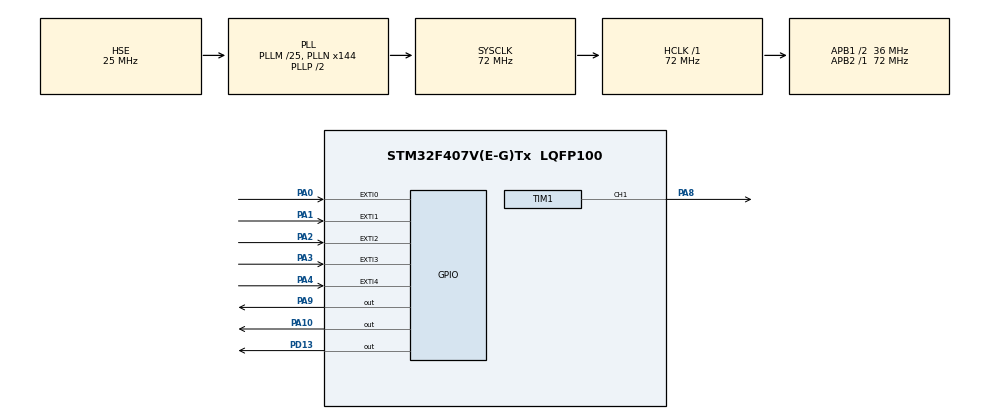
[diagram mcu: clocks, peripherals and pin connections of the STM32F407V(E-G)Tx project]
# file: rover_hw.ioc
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Mcu.Family=STM32F4
Mcu.Name=STM32F407V(E-G)Tx
Mcu.Package=LQFP100
NVIC.EXTI0_IRQn=true\:0\:0\:false\:false\:true\:true\:true\:true
NVIC.EXTI1_IRQn=true\:0\:0\:false\:false\:true\:true\:true\:true
NVIC.EXTI2_IRQn=true\:0\:0\:false\:false\:true\:true\:true\:true
NVIC.EXTI3_IRQn=true\:0\:0\:false\:false\:true\:true\:true\:true
NVIC.EXTI4_IRQn=true\:0\:0\:false\:false\:true\:true\:true\:true
NVIC.PriorityGroup=NVIC_PRIORITYGROUP_4
PA0-WKUP.GPIO_PuPd=GPIO_PULLDOWN
PA0-WKUP.Signal=GPXTI0
PA1.GPIO_PuPd=GPIO_PULLDOWN
PA1.Signal=GPXTI1
PA10.Signal=GPIO_Output
PA13.Mode=Serial_Wire
PA13.Signal=SYS_JTMS-SWDIO
PA14.Mode=Serial_Wire
PA14.Signal=SYS_JTCK-SWCLK
PA2.GPIO_PuPd=GPIO_PULLDOWN
PA2.Signal=GPXTI2
PA3.GPIO_PuPd=GPIO_PULLDOWN
PA3.Signal=GPXTI3
PA4.GPIO_PuPd=GPIO_PULLDOWN
PA4.Signal=GPXTI4
PA8.Signal=S_TIM1_CH1
PA9.Signal=GPIO_Output
PD13.Signal=GPIO_Output
PH0-OSC_IN.Mode=HSE-External-Oscillator
PH0-OSC_IN.Signal=RCC_OSC_IN
PH1-OSC_OUT.Mode=HSE-External-Oscillator
PH1-OSC_OUT.Signal=RCC_OSC_OUT
ProjectManager.HeapSize=0x200
ProjectManager.StackSize=0x400
ProjectManager.TargetToolchain=STM32CubeIDE
RCC.48MHZClocksFreq_Value=36000000
RCC.AHBFreq_Value=72000000
RCC.APB1CLKDivider=RCC_HCLK_DIV2
RCC.APB1Freq_Value=36000000
RCC.APB1TimFreq_Value=72000000
RCC.APB2Freq_Value=72000000
RCC.APB2TimFreq_Value=72000000
RCC.CortexFreq_Value=72000000
RCC.HCLKFreq_Value=72000000
RCC.HSE_VALUE=25000000
RCC.HSI_VALUE=16000000
RCC.LSE_VALUE=32768
RCC.PLLM=25
RCC.PLLN=144
RCC.PLLSourceVirtual=RCC_PLLSOURCE_HSE
RCC.SYSCLKFreq_VALUE=72000000
RCC.SYSCLKSource=RCC_SYSCLKSOURCE_PLLCLK
RCC.VCOOutputFreq_Value=144000000
SH.S_TIM1_CH1.0=TIM1_CH1,PWM Generation1 CH1
TIM1.AutoReloadPreload=TIM_AUTORELOAD_PRELOAD_ENABLE
TIM1.Channel-PWM\ Generation1\ CH1=TIM_CHANNEL_1
TIM1.Period=99
TIM1.Prescaler=71
TIM1.Pulse-PWM\ Generation1\ CH1=99
VP_TIM1_VS_ClockSourceINT.Mode=Internal
board=custom

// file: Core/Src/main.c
/* USER CODE BEGIN Header */
/**
  ******************************************************************************
  * @file           : main.c
  * @brief          : Main program body
  ******************************************************************************
  * @attention
  *
  * Copyright (c) 2023 STMicroelectronics.
  * All rights reserved.
  *
  * This software is licensed under terms that can be found in the LICENSE file
  * in the root directory of this software component.
  * If no LICENSE file comes with this software, it is provided AS-IS.
  *
  ******************************************************************************
  */
/* USER CODE END Header */
#include "main.h"

TIM_HandleTypeDef htim1;

void SystemClock_Config(void);
static void MX_GPIO_Init(void);
static void MX_TIM1_Init(void);

/* USER CODE BEGIN 0 */
void HAL_GPIO_EXTI_Callback(uint16_t GPIO_Pin){
	if(HAL_GPIO_ReadPin(GPIOA, GPIO_PIN_0))
	{
		HAL_GPIO_WritePin(GPIOA, GPIO_PIN_10,1);  // clockwise dönüş
		HAL_GPIO_WritePin(GPIOA, GPIO_PIN_9, 0);
		__HAL_TIM_SET_COMPARE(&htim1,TIM_CHANNEL_1,100); // %100 duty cycle
	}
	else if(HAL_GPIO_ReadPin(GPIOA, GPIO_PIN_1))
	{
		HAL_GPIO_WritePin(GPIOA, GPIO_PIN_10,1); // clockwise dönüş
		HAL_GPIO_WritePin(GPIOA, GPIO_PIN_9, 0);
		__HAL_TIM_SET_COMPARE(&htim1,TIM_CHANNEL_1,50); // %50 duty cycle
	}
	else if(HAL_GPIO_ReadPin(GPIOA, GPIO_PIN_2)){
		HAL_GPIO_WritePin(GPIOA, GPIO_PIN_10,0); //durur
		HAL_GPIO_WritePin(GPIOA, GPIO_PIN_9, 0);
		__HAL_TIM_SET_COMPARE(&htim1,TIM_CHANNEL_1,0); // %0 duty cycle
	}
	else if(HAL_GPIO_ReadPin(GPIOA, GPIO_PIN_2)){
		HAL_GPIO_WritePin(GPIOA, GPIO_PIN_10,1); //durur
		HAL_GPIO_WritePin(GPIOA, GPIO_PIN_9, 1);
		__HAL_TIM_SET_COMPARE(&htim1,TIM_CHANNEL_1,0); // %0 duty cycle
		}
	else if(HAL_GPIO_ReadPin(GPIOA, GPIO_PIN_3)){
		HAL_GPIO_WritePin(GPIOA, GPIO_PIN_10,0); // counter-clockwise dönüş
		HAL_GPIO_WritePin(GPIOA, GPIO_PIN_9, 1);
		__HAL_TIM_SET_COMPARE(&htim1,TIM_CHANNEL_1,50); // %50 duty cycle
	}

	else if(HAL_GPIO_ReadPin(GPIOA, GPIO_PIN_4)){
		HAL_GPIO_WritePin(GPIOA, GPIO_PIN_10,1); // counter-clockwise dönüş
		HAL_GPIO_WritePin(GPIOA, GPIO_PIN_9, 0);
		__HAL_TIM_SET_COMPARE(&htim1,TIM_CHANNEL_1,100); // %100 duty cycle
	}

}

/* USER CODE END 0 */

int main(void)
{

  /* MCU Configuration--------------------------------------------------------*/

  /* Reset of all peripherals, Initializes the Flash interface and the Systick. */
  HAL_Init();

  /* Configure the system clock */
  SystemClock_Config();

  /* Initialize all configured peripherals */
  MX_GPIO_Init();
  MX_TIM1_Init();
  /* USER CODE BEGIN 2 */
  HAL_TIM_Base_Start(&htim1);
  HAL_TIM_PWM_Start(&htim1, TIM_CHANNEL_1);

  /* USER CODE END 2 */

  /* Infinite loop */
  while (1)
  {
   HAL_GPIO_TogglePin(GPIOD,GPIO_PIN_13);
   HAL_Delay(300);

  }
}

void SystemClock_Config(void)
{
  RCC_OscInitTypeDef RCC_OscInitStruct = {0};
  RCC_ClkInitTypeDef RCC_ClkInitStruct = {0};

  /** Configure the main internal regulator output voltage
  */
  __HAL_RCC_PWR_CLK_ENABLE();
  __HAL_PWR_VOLTAGESCALING_CONFIG(PWR_REGULATOR_VOLTAGE_SCALE1);

  /** Initializes the RCC Oscillators according to the specified parameters
  * in the RCC_OscInitTypeDef structure.
  */
  RCC_OscInitStruct.OscillatorType = RCC_OSCILLATORTYPE_HSE;
  RCC_OscInitStruct.HSEState = RCC_HSE_ON;
  RCC_OscInitStruct.PLL.PLLState = RCC_PLL_ON;
  RCC_OscInitStruct.PLL.PLLSource = RCC_PLLSOURCE_HSE;
  RCC_OscInitStruct.PLL.PLLM = 25;
  RCC_OscInitStruct.PLL.PLLN = 144;
  RCC_OscInitStruct.PLL.PLLP = RCC_PLLP_DIV2;
  RCC_OscInitStruct.PLL.PLLQ = 4;
  if (HAL_RCC_OscConfig(&RCC_OscInitStruct) != HAL_OK)
  {
    Error_Handler();
  }

  /** Initializes the CPU, AHB and APB buses clocks
  */
  RCC_ClkInitStruct.ClockType = RCC_CLOCKTYPE_HCLK|RCC_CLOCKTYPE_SYSCLK
                              |RCC_CLOCKTYPE_PCLK1|RCC_CLOCKTYPE_PCLK2;
  RCC_ClkInitStruct.SYSCLKSource = RCC_SYSCLKSOURCE_PLLCLK;
  RCC_ClkInitStruct.AHBCLKDivider = RCC_SYSCLK_DIV1;
  RCC_ClkInitStruct.APB1CLKDivider = RCC_HCLK_DIV2;
  RCC_ClkInitStruct.APB2CLKDivider = RCC_HCLK_DIV1;

  if (HAL_RCC_ClockConfig(&RCC_ClkInitStruct, FLASH_LATENCY_2) != HAL_OK)
  {
    Error_Handler();
  }
}

static void MX_TIM1_Init(void)
{

  TIM_ClockConfigTypeDef sClockSourceConfig = {0};
  TIM_MasterConfigTypeDef sMasterConfig = {0};
  TIM_OC_InitTypeDef sConfigOC = {0};
  TIM_BreakDeadTimeConfigTypeDef sBreakDeadTimeConfig = {0};

  htim1.Instance = TIM1;
  htim1.Init.Prescaler = 71;
  htim1.Init.CounterMode = TIM_COUNTERMODE_UP;
  htim1.Init.Period = 99;
  htim1.Init.ClockDivision = TIM_CLOCKDIVISION_DIV1;
  htim1.Init.RepetitionCounter = 0;
  htim1.Init.AutoReloadPreload = TIM_AUTORELOAD_PRELOAD_ENABLE;
  if (HAL_TIM_Base_Init(&htim1) != HAL_OK)
  {
    Error_Handler();
  }
  sClockSourceConfig.ClockSource = TIM_CLOCKSOURCE_INTERNAL;
  if (HAL_TIM_ConfigClockSource(&htim1, &sClockSourceConfig) != HAL_OK)
  {
    Error_Handler();
  }
  if (HAL_TIM_PWM_Init(&htim1) != HAL_OK)
  {
    Error_Handler();
  }
  sMasterConfig.MasterOutputTrigger = TIM_TRGO_RESET;
  sMasterConfig.MasterSlaveMode = TIM_MASTERSLAVEMODE_DISABLE;
  if (HAL_TIMEx_MasterConfigSynchronization(&htim1, &sMasterConfig) != HAL_OK)
  {
    Error_Handler();
  }
  sConfigOC.OCMode = TIM_OCMODE_PWM1;
  sConfigOC.Pulse = 99;
  sConfigOC.OCPolarity = TIM_OCPOLARITY_HIGH;
  sConfigOC.OCNPolarity = TIM_OCNPOLARITY_HIGH;
  sConfigOC.OCFastMode = TIM_OCFAST_DISABLE;
  sConfigOC.OCIdleState = TIM_OCIDLESTATE_RESET;
  sConfigOC.OCNIdleState = TIM_OCNIDLESTATE_RESET;
  if (HAL_TIM_PWM_ConfigChannel(&htim1, &sConfigOC, TIM_CHANNEL_1) != HAL_OK)
  {
    Error_Handler();
  }
  sBreakDeadTimeConfig.OffStateRunMode = TIM_OSSR_DISABLE;
  sBreakDeadTimeConfig.OffStateIDLEMode = TIM_OSSI_DISABLE;
  sBreakDeadTimeConfig.LockLevel = TIM_LOCKLEVEL_OFF;
  sBreakDeadTimeConfig.DeadTime = 0;
  sBreakDeadTimeConfig.BreakState = TIM_BREAK_DISABLE;
  sBreakDeadTimeConfig.BreakPolarity = TIM_BREAKPOLARITY_HIGH;
  sBreakDeadTimeConfig.AutomaticOutput = TIM_AUTOMATICOUTPUT_DISABLE;
  if (HAL_TIMEx_ConfigBreakDeadTime(&htim1, &sBreakDeadTimeConfig) != HAL_OK)
  {
    Error_Handler();
  }
  HAL_TIM_MspPostInit(&htim1);

}

static void MX_GPIO_Init(void)
{
  GPIO_InitTypeDef GPIO_InitStruct = {0};

  /* GPIO Ports Clock Enable */
  __HAL_RCC_GPIOH_CLK_ENABLE();
  __HAL_RCC_GPIOA_CLK_ENABLE();

  /*Configure GPIO pin Output Level */
  HAL_GPIO_WritePin(GPIOA, GPIO_PIN_9|GPIO_PIN_10, GPIO_PIN_RESET);

  /*Configure GPIO pins : PA0 PA1 PA2 PA3
                           PA4 */
  GPIO_InitStruct.Pin = GPIO_PIN_0|GPIO_PIN_1|GPIO_PIN_2|GPIO_PIN_3
                          |GPIO_PIN_4;
  GPIO_InitStruct.Mode = GPIO_MODE_IT_RISING;
  GPIO_InitStruct.Pull = GPIO_PULLDOWN;
  HAL_GPIO_Init(GPIOA, &GPIO_InitStruct);

  /*Configure GPIO pins : PA9 PA10 */
  GPIO_InitStruct.Pin = GPIO_PIN_9|GPIO_PIN_10;
  GPIO_InitStruct.Mode = GPIO_MODE_OUTPUT_PP;
  GPIO_InitStruct.Pull = GPIO_NOPULL;
  GPIO_InitStruct.Speed = GPIO_SPEED_FREQ_LOW;
  HAL_GPIO_Init(GPIOA, &GPIO_InitStruct);

  /* EXTI interrupt init*/
  HAL_NVIC_SetPriority(EXTI0_IRQn, 0, 0);
  HAL_NVIC_EnableIRQ(EXTI0_IRQn);

  HAL_NVIC_SetPriority(EXTI1_IRQn, 0, 0);
  HAL_NVIC_EnableIRQ(EXTI1_IRQn);

  HAL_NVIC_SetPriority(EXTI2_IRQn, 0, 0);
  HAL_NVIC_EnableIRQ(EXTI2_IRQn);

  HAL_NVIC_SetPriority(EXTI3_IRQn, 0, 0);
  HAL_NVIC_EnableIRQ(EXTI3_IRQn);

  HAL_NVIC_SetPriority(EXTI4_IRQn, 0, 0);
  HAL_NVIC_EnableIRQ(EXTI4_IRQn);

}

void Error_Handler(void)
{
  __disable_irq();
  while (1)
  {
  }
}
